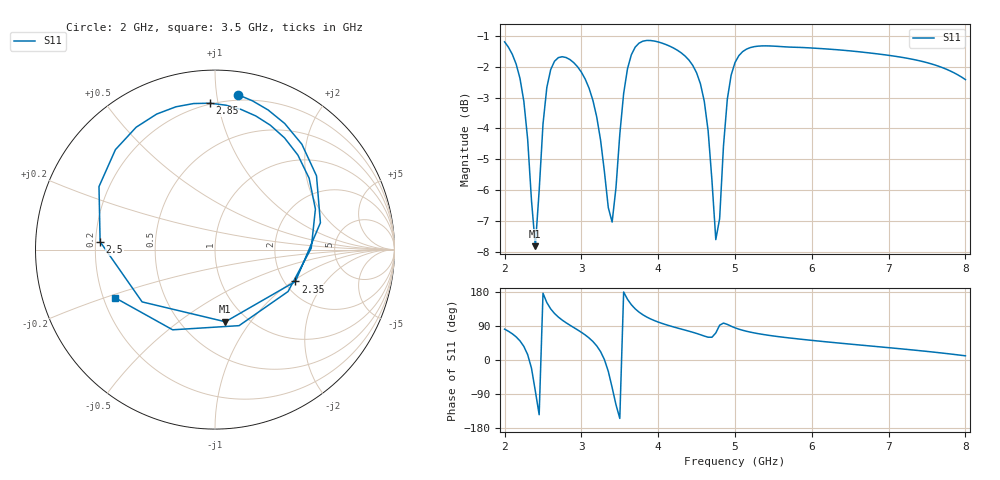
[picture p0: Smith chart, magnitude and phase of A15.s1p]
! Generated by Hertzon (EMerge FEM)
# HZ S RI R 50
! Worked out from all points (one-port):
!   121 points, 2 GHz to 8 GHz, reference 50 ohm
!   lowest |S11| = -7.8 dB at 2.4 GHz (marker M1), VSWR 2.37, Z = 39.8 - j38.3 ohm
!   |S11| at or under -10 dB: nowhere
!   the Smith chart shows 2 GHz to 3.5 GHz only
!   S11 on the Smith chart (normalised r, x): 2 GHz: 0.16, +1.15; 2.35 GHz: 2.28, -1.06; 2.5 GHz: 0.22, +0.03; 2.85 GHz: 0.19, +0.95; 3.5 GHz: 0.25, -0.22
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2e9  0.1297 0.8624
2.2e9  0.4839 0.5871
2.3e9  0.5873 0.1498
2.35e9  0.4481 -0.1777
2.4e9  0.0577 -0.4021
2.45e9  -0.4061 -0.2914
2.5e9  -0.64 0.0437
2.6e9  -0.5548 0.5569
2.75e9  -0.2179 0.7956
2.85e9  -0.0272 0.8158
3.1e9  0.3874 0.6223
3.2e9  0.5245 0.3975
3.3e9  0.5362 0.00831
3.4e9  0.1341 -0.4237
3.45e9  -0.2359 -0.4468
3.5e9  -0.5555 -0.2689
3.6e9  -0.742 0.2666
3.75e9  -0.515 0.6985
3.95e9  -0.2123 0.8485
4.25e9  0.0821 0.8411
4.6e9  0.3146 0.6233
4.75e9  0.1331 0.3944
4.85e9  -0.076 0.5859
5e9  0.0717 0.8039
5.75e9  0.4623 0.719
6.5e9  0.6273 0.5632
7.25e9  0.7256 0.3816
8e9  0.7434 0.1449
